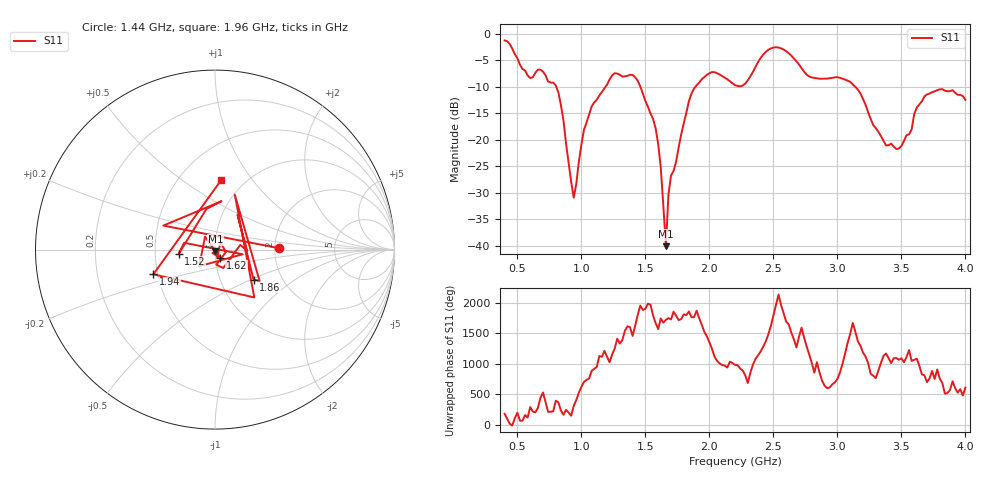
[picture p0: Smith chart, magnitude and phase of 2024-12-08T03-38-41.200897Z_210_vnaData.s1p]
!Created with skrf (http://scikit-rf.org).
# Hz S RI R 50.0
!freq ReS11 ImS11
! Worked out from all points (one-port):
!   181 points, 400 MHz to 4 GHz, reference 50 ohm
!   lowest |S11| = -40.1 dB at 1.66 GHz (marker M1), VSWR 1.02, Z = 50.2 - j0.978 ohm
!   |S11| at or under -10 dB: 803.3 MHz to 1.189 GHz (386.2 MHz wide, 38.8 % of centre); 1.46 GHz to 1.892 GHz (431.3 MHz wide, 25.7 % of centre); 3.139 GHz to end of sweep
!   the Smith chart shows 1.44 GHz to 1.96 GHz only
!   S11 on the Smith chart (normalised r, x): 1.44 GHz: 2.12, +0.04; 1.52 GHz: 0.66, -0.03; 1.62 GHz: 1.06, -0.10; 1.86 GHz: 1.44, -0.52; 1.94 GHz: 0.47, -0.15; 1.96 GHz: 0.78, +0.72
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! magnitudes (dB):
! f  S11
! 400 MHz  -1.3
! 600 MHz  -8.4
! 680 MHz  -6.8
! 800 MHz  -9.8
! 860 MHz  -16.4
! 940 MHz  -30.9
! 1.02 GHz  -18.1
! 1.08 GHz  -13.7
! 1.3 GHz  -7.8
! 1.44 GHz  -8.9
! 1.52 GHz  -13.8
! 1.58 GHz  -17.9
! 1.62 GHz  -25.2
! 1.66 GHz  -40.1
! 1.68 GHz  -30.4
! 1.76 GHz  -21.4
! 1.86 GHz  -11.3
! 1.94 GHz  -8.6
! 1.96 GHz  -8.2
! 2.2 GHz  -9.7
! 2.48 GHz  -2.8
! 2.66 GHz  -4.7
! 2.78 GHz  -8.1
! 3.1 GHz  -9.1
! 3.38 GHz  -21.1
! 3.56 GHz  -19.0
! 3.7 GHz  -11.5
! 4 GHz  -12.5
